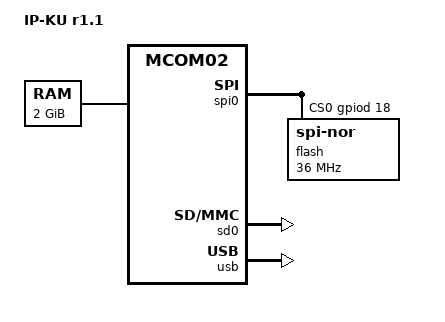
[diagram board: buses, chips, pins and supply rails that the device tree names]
/*
 * Copyright 2015-2016 ELVEES NeoTek JSC
 *
 * This program is free software; you can redistribute it and/or modify
 * it under the terms of the GNU General Public License version 2 as
 * published by the Free Software Foundation.
 */

/dts-v1/;

#include <dt-bindings/interrupt-controller/irq.h>

#include "mcom02.dtsi"

/ {
	model = "IP-KU r1.1";
	compatible = "elvees,ip-ku-r1.1",
		     "elvees,ip-ku",
		     "elvees,mcom02";

	chosen {
		bootargs = "console=ttyS0,115200";
	};

	aliases {
		spi0 = &spi0;
	};

	memory {
		device_type = "memory";
		reg = <0x40000000 0x40000000
		       0xa0000000 0x40000000>;
	};
};

&cpllclk {
	clock-mult = <14>;
};

&spi0 {
	status = "okay";
	num-cs = <1>;
	/* Third argument of "cs-gpios" property is set to 0,
	 * because it is ignored by the SPI driver. */
	cs-gpios = <&gpiod 18 0>;

	flash: flash@0 {
		#address-cells = <1>;
		#size-cells = <1>;
		compatible = "jedec,spi-nor", "spi-flash";
		reg = <0>;
		spi-max-frequency = <36000000>;
		m25p,fast-read;
		u-boot,dm-pre-reloc;
	};
};

&sd0 {
	status = "okay";
};

&usb {
	status = "okay";
};

/* IP-KU hangs at high SPLL values, so we should decrease it. */
&spllclk {
	clk-mult-initial = <6>;
};

&l3_pclk {
	clock-div = <1>;
};
